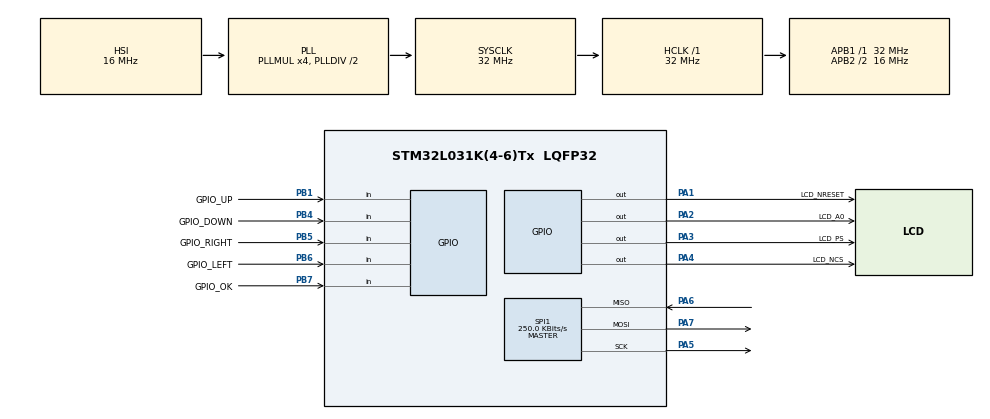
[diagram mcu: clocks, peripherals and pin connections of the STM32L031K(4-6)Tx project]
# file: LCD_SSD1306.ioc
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Mcu.Family=STM32L0
Mcu.Name=STM32L031K(4-6)Tx
Mcu.Package=LQFP32
PA1.GPIO_Label=LCD_NRESET
PA1.Signal=GPIO_Output
PA13.Mode=Serial_Wire
PA13.Signal=SYS_SWDIO
PA14.Mode=Serial_Wire
PA14.Signal=SYS_SWCLK
PA2.GPIO_Label=LCD_A0
PA2.Signal=GPIO_Output
PA3.GPIO_Label=LCD_PS
PA3.Signal=GPIO_Output
PA4.GPIO_Label=LCD_NCS
PA4.Signal=GPIO_Output
PA5.Mode=Full_Duplex_Master
PA5.Signal=SPI1_SCK
PA6.Mode=Full_Duplex_Master
PA6.Signal=SPI1_MISO
PA7.Mode=Full_Duplex_Master
PA7.Signal=SPI1_MOSI
PB1.GPIO_Label=GPIO_UP
PB1.GPIO_PuPd=GPIO_PULLUP
PB1.Signal=GPIO_Input
PB4.GPIO_Label=GPIO_DOWN
PB4.GPIO_PuPd=GPIO_PULLUP
PB4.Signal=GPIO_Input
PB5.GPIO_Label=GPIO_RIGHT
PB5.GPIO_PuPd=GPIO_PULLUP
PB5.Signal=GPIO_Input
PB6.GPIO_Label=GPIO_LEFT
PB6.GPIO_PuPd=GPIO_PULLUP
PB6.Signal=GPIO_Input
PB7.GPIO_Label=GPIO_OK
PB7.GPIO_PuPd=GPIO_PULLUP
PB7.Signal=GPIO_Input
ProjectManager.HeapSize=0x200
ProjectManager.StackSize=0x400
ProjectManager.TargetToolchain=STM32CubeIDE
RCC.ADCFreq_Value=16000000
RCC.AHBFreq_Value=32000000
RCC.APB1Freq_Value=32000000
RCC.APB1TimFreq_Value=32000000
RCC.APB2CLKDivider=RCC_HCLK_DIV2
RCC.APB2Freq_Value=16000000
RCC.APB2TimFreq_Value=32000000
RCC.HCLKFreq_Value=32000000
RCC.HSE_VALUE=8000000
RCC.HSI16_VALUE=16000000
RCC.HSI_VALUE=16000000
RCC.LSE_VALUE=32768
RCC.MSI_VALUE=2097000
RCC.PLLMUL=RCC_PLLMUL_4
RCC.SYSCLKFreq_VALUE=32000000
RCC.SYSCLKSource=RCC_SYSCLKSOURCE_PLLCLK
RCC.VCOOutputFreq_Value=64000000
SPI1.BaudRatePrescaler=SPI_BAUDRATEPRESCALER_64
SPI1.CLKPhase=SPI_PHASE_2EDGE
SPI1.CLKPolarity=SPI_POLARITY_HIGH
SPI1.CalculateBaudRate=250.0 KBits/s
SPI1.Direction=SPI_DIRECTION_2LINES
SPI1.Mode=SPI_MODE_MASTER
SPI1.VirtualType=VM_MASTER
board=custom

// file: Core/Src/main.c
/* USER CODE BEGIN Header */
/**
 ******************************************************************************
 * @file           : main.c
 * @brief          : Main program body
 ******************************************************************************
 * @attention
 *
 * Copyright (c) 2023 STMicroelectronics.
 * All rights reserved.
 *
 * This software is licensed under terms that can be found in the LICENSE file
 * in the root directory of this software component.
 * If no LICENSE file comes with this software, it is provided AS-IS.
 *
 ******************************************************************************
 */
//#define TEST_SSD1306
//#define TEST_KEYBAD
/* USER CODE END Header */
#include "main.h"

SPI_HandleTypeDef hspi1;

void SystemClock_Config(void);
static void MX_GPIO_Init(void);
static void MX_SPI1_Init(void);

/* USER CODE BEGIN 0 */
#ifdef TEST_KEYBAD
uint8_t g_ui8BtnState ;
#endif
/* USER CODE END 0 */

int main(void)
{

  /* MCU Configuration--------------------------------------------------------*/

  /* Reset of all peripherals, Initializes the Flash interface and the Systick. */
  HAL_Init();

  /* Configure the system clock */
  SystemClock_Config();

  /* Initialize all configured peripherals */
  MX_GPIO_Init();
  MX_SPI1_Init();
  /* USER CODE BEGIN 2 */

//	HAL_SSD1306_Init();

  /* USER CODE END 2 */

  /* Infinite loop */
	while (1)
	{

    /* USER CODE BEGIN 3 */
#ifdef TEST_SSD1306
	HAL_SSD1306_Clear()
	APP_SSD1306Helper_Display(TITLE, SSD1306_TITLE_X , SSD1306_TITLE_Y, g_aData[0], 0 , &stFont_7x10 , SSD1306_COLOR_WHITE);
	APP_SSD1306Helper_Display(GPS , SSD1306_GPS_X , SSD1306_GPS_Y ,g_aData[1] , 0 ,  &stFont_7x10 , SSD1306_COLOR_WHITE);
	APP_SSD1306Helper_Display(BATTERY_PERCENTAGE, SSD1306_BAT_PERC_X, SSD1306_BAT_PERC_Y ,  g_aData[2], 0 , &stFont_7x10, SSD1306_COLOR_WHITE);
	APP_SSD1306Helper_Display(KEY_INDEX , SSD1306_KEY_INDEX_X , SSD1306_KEY_INDEX_Y ,g_aData[3], 0 , &stFont_7x10, SSD1306_COLOR_WHITE);
	APP_SSD1306Helper_Display(DATA_SRC , SSD1306_DATA_SRC_X , SSD1306_DATA_SRC_Y , g_aData[4], 0 ,&stFont_7x10 , SSD1306_COLOR_WHITE);
	APP_SSD1306Helper_Display(OPERATION_MODE , SSD1306_OP_MODE_X , SSD1306_OP_MODE_Y ,g_aData[5], 0 , &stFont_7x10,  SSD1306_COLOR_WHITE);
	APP_SSD1306Helper_Display(STATE , SSD1306_STATE_X , SSD1306_STATE_Y , g_aData[6], 0 ,  &stFont_7x10, SSD1306_COLOR_WHITE);
	HAL_Delay(1000);
	HAL_SSD1306_Clear()
	APP_SSD1306Helper_Display( SET_KEY, SSD1306_SET_KEY_X , SSD1306_SET_KEY_Y , "SET KEY", 0 , &stFont_7x10,  SSD1306_COLOR_WHITE);
	APP_SSD1306Helper_Display( KEY_VALUE, SSD1306_KEY_VALUE_X1 , SSD1306_KEY_VALUE_Y , "", g_aData[3][0] , &stFont_7x10,  SSD1306_COLOR_WHITE);
	APP_SSD1306Helper_Display( KEY_VALUE, SSD1306_KEY_VALUE_X2 , SSD1306_KEY_VALUE_Y ,"",  g_aData[3][1] , &stFont_7x10,  SSD1306_COLOR_WHITE);
	APP_SSD1306Helper_Display( KEY_VALUE, SSD1306_KEY_VALUE_X3 , SSD1306_KEY_VALUE_Y , " ",g_aData[3][2] , &stFont_7x10,  SSD1306_COLOR_WHITE);
	HAL_Delay(1000);
	HAL_SSD1306_Clear()
	APP_SSD1306Helper_Display(SET_MODE,SSD1306_SET_MODE_X,SSD1306_SET_MODE_Y,"SET MODE",0, &stFont_7x10, SSD1306_COLOR_WHITE);
	APP_SSD1306Helper_Display(PLAIN,SSD1306_PLAIN_MODE_X,SSD1306_PLAIN_MODE_Y, "PLAIN",0, &stFont_7x10, SSD1306_COLOR_WHITE);
	APP_SSD1306Helper_Display(CIPHER,SSD1306_CIPHER_MODE_X, SSD1306_CIPHER_MODE_Y,"CIPHER", 0, &stFont_7x10, SSD1306_COLOR_WHITE);
	HAL_Delay(1000);
	HAL_SSD1306_Clear();
	APP_SSD1306Helper_Display(SET_DATA_SRC, SSD1306_SET_DATA_SRC_X , SSD1306_SET_DATA_SRC_Y , "SET SOURCE", 0 , &stFont_7x10,  SSD1306_COLOR_WHITE);
	APP_SSD1306Helper_Display(AUDIO , SSD1306_AUDIO_X , SSD1306_AUDIO_Y ,"AUDIO", 0 , &stFont_7x10, SSD1306_COLOR_WHITE);
	APP_SSD1306Helper_Display(ETHERNET , SSD1306_ETHERNET_X , SSD1306_ETHERNET_Y , "ETHERNET" , 0 ,  &stFont_7x10, SSD1306_COLOR_WHITE);
	HAL_Delay(1000);
#endif

#ifdef TEST_KEYBAD
		g_ui8BtnState = HAL_KEYPAD_getPressedKey();

		if(g_ui8BtnState == KEYPAD_BUTTON_UP)
		{
			HAL_SSD1306_Clear();
			APP_SSD1306Helper_Display(KEY_INDEX , SSD1306_KEY_INDEX_X , SSD1306_KEY_INDEX_Y ,"UP", 0 , &stFont_7x10, SSD1306_COLOR_WHITE);
		}
		else if(g_ui8BtnState == KEYPAD_BUTTON_DOWN)
		{
			HAL_SSD1306_Clear();
			APP_SSD1306Helper_Display(KEY_INDEX , SSD1306_KEY_INDEX_X , SSD1306_KEY_INDEX_Y ,"DOWN", 0 , &stFont_7x10, SSD1306_COLOR_WHITE);
		}
		else if(g_ui8BtnState == KEYPAD_BUTTON_RIGHT)
		{
			HAL_SSD1306_Clear();
			APP_SSD1306Helper_Display(KEY_INDEX , SSD1306_KEY_INDEX_X , SSD1306_KEY_INDEX_Y ,"RIGHT", 0 , &stFont_7x10, SSD1306_COLOR_WHITE);
		}
		else if(g_ui8BtnState == KEYPAD_BUTTON_LEFT)
		{
			HAL_SSD1306_Clear();
			APP_SSD1306Helper_Display(KEY_INDEX , SSD1306_KEY_INDEX_X , SSD1306_KEY_INDEX_Y ,"LEFT", 0 , &stFont_7x10, SSD1306_COLOR_WHITE);
		}
		else if(g_ui8BtnState == KEYPAD_BUTTON_OK)
		{
			HAL_SSD1306_Clear();
			APP_SSD1306Helper_Display(KEY_INDEX , SSD1306_KEY_INDEX_X , SSD1306_KEY_INDEX_Y ,"OK", 0 , &stFont_7x10, SSD1306_COLOR_WHITE);
		}
#endif

//		APP_KeyPadHelper_Action();

	}
  /* USER CODE END 3 */
}

void SystemClock_Config(void)
{
  RCC_OscInitTypeDef RCC_OscInitStruct = {0};
  RCC_ClkInitTypeDef RCC_ClkInitStruct = {0};

  /** Configure the main internal regulator output voltage
  */
  __HAL_PWR_VOLTAGESCALING_CONFIG(PWR_REGULATOR_VOLTAGE_SCALE1);
  /** Initializes the RCC Oscillators according to the specified parameters
  * in the RCC_OscInitTypeDef structure.
  */
  RCC_OscInitStruct.OscillatorType = RCC_OSCILLATORTYPE_HSI;
  RCC_OscInitStruct.HSIState = RCC_HSI_ON;
  RCC_OscInitStruct.HSICalibrationValue = RCC_HSICALIBRATION_DEFAULT;
  RCC_OscInitStruct.PLL.PLLState = RCC_PLL_ON;
  RCC_OscInitStruct.PLL.PLLSource = RCC_PLLSOURCE_HSI;
  RCC_OscInitStruct.PLL.PLLMUL = RCC_PLLMUL_4;
  RCC_OscInitStruct.PLL.PLLDIV = RCC_PLLDIV_2;
  if (HAL_RCC_OscConfig(&RCC_OscInitStruct) != HAL_OK)
  {
    Error_Handler();
  }
  /** Initializes the CPU, AHB and APB buses clocks
  */
  RCC_ClkInitStruct.ClockType = RCC_CLOCKTYPE_HCLK|RCC_CLOCKTYPE_SYSCLK
                              |RCC_CLOCKTYPE_PCLK1|RCC_CLOCKTYPE_PCLK2;
  RCC_ClkInitStruct.SYSCLKSource = RCC_SYSCLKSOURCE_PLLCLK;
  RCC_ClkInitStruct.AHBCLKDivider = RCC_SYSCLK_DIV1;
  RCC_ClkInitStruct.APB1CLKDivider = RCC_HCLK_DIV1;
  RCC_ClkInitStruct.APB2CLKDivider = RCC_HCLK_DIV2;

  if (HAL_RCC_ClockConfig(&RCC_ClkInitStruct, FLASH_LATENCY_1) != HAL_OK)
  {
    Error_Handler();
  }
}

static void MX_SPI1_Init(void)
{

  /* SPI1 parameter configuration*/
  hspi1.Instance = SPI1;
  hspi1.Init.Mode = SPI_MODE_MASTER;
  hspi1.Init.Direction = SPI_DIRECTION_2LINES;
  hspi1.Init.DataSize = SPI_DATASIZE_8BIT;
  hspi1.Init.CLKPolarity = SPI_POLARITY_HIGH;
  hspi1.Init.CLKPhase = SPI_PHASE_2EDGE;
  hspi1.Init.NSS = SPI_NSS_SOFT;
  hspi1.Init.BaudRatePrescaler = SPI_BAUDRATEPRESCALER_64;
  hspi1.Init.FirstBit = SPI_FIRSTBIT_MSB;
  hspi1.Init.TIMode = SPI_TIMODE_DISABLE;
  hspi1.Init.CRCCalculation = SPI_CRCCALCULATION_DISABLE;
  hspi1.Init.CRCPolynomial = 7;
  if (HAL_SPI_Init(&hspi1) != HAL_OK)
  {
    Error_Handler();
  }

}

static void MX_GPIO_Init(void)
{
  GPIO_InitTypeDef GPIO_InitStruct = {0};

  /* GPIO Ports Clock Enable */
  __HAL_RCC_GPIOA_CLK_ENABLE();
  __HAL_RCC_GPIOB_CLK_ENABLE();

  /*Configure GPIO pin Output Level */
  HAL_GPIO_WritePin(GPIOA, LCD_NRESET_Pin|LCD_A0_Pin|LCD_PS_Pin|LCD_NCS_Pin, GPIO_PIN_RESET);

  /*Configure GPIO pins : LCD_NRESET_Pin LCD_A0_Pin LCD_PS_Pin LCD_NCS_Pin */
  GPIO_InitStruct.Pin = LCD_NRESET_Pin|LCD_A0_Pin|LCD_PS_Pin|LCD_NCS_Pin;
  GPIO_InitStruct.Mode = GPIO_MODE_OUTPUT_PP;
  GPIO_InitStruct.Pull = GPIO_NOPULL;
  GPIO_InitStruct.Speed = GPIO_SPEED_FREQ_LOW;
  HAL_GPIO_Init(GPIOA, &GPIO_InitStruct);

  /*Configure GPIO pins : GPIO_UP_Pin GPIO_DOWN_Pin GPIO_RIGHT_Pin GPIO_LEFT_Pin
                           GPIO_OK_Pin */
  GPIO_InitStruct.Pin = GPIO_UP_Pin|GPIO_DOWN_Pin|GPIO_RIGHT_Pin|GPIO_LEFT_Pin
                          |GPIO_OK_Pin;
  GPIO_InitStruct.Mode = GPIO_MODE_INPUT;
  GPIO_InitStruct.Pull = GPIO_PULLUP;
  HAL_GPIO_Init(GPIOB, &GPIO_InitStruct);

}

void Error_Handler(void)
{
	__disable_irq();
	while (1)
	{
	}
}
